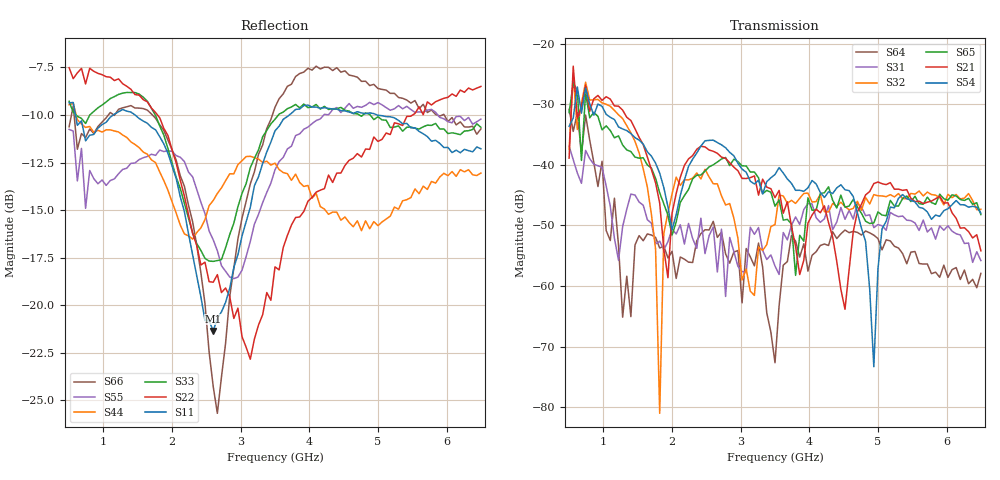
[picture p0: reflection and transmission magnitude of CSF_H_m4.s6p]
!Keysight Technologies,M9804A,MY58100912,A.14.10.03
!Date: Thursday, April 27, 2023 10:28:33
!Correction: S11(C  6-Port  )
!S12(C  6-Port  )
!S13(C  6-Port  )
!S14(C  6-Port  )
!S15(C  6-Port  )
!S16(C  6-Port  )
!S21(C  6-Port  )
!S22(C  6-Port  )
!S23(C  6-Port  )
!S24(C  6-Port  )
!S25(C  6-Port  )
!S26(C  6-Port  )
!S31(C  6-Port  )
!S32(C  6-Port  )
!S33(C  6-Port  )
!S34(C  6-Port  )
!S35(C  6-Port  )
!S36(C  6-Port  )
!S41(C  6-Port  )
!S42(C  6-Port  )
!S43(C  6-Port  )
!S44(C  6-Port  )
!S45(C  6-Port  )
!S46(C  6-Port  )
!S51(C  6-Port  )
!S52(C  6-Port  )
!S53(C  6-Port  )
!S54(C  6-Port  )
!S55(C  6-Port  )
!S56(C  6-Port  )
!S61(C  6-Port  )
!S62(C  6-Port  )
!S63(C  6-Port  )
!S64(C  6-Port  )
!S65(C  6-Port  )
!S66(C  6-Port  )
!S6P File: Measurement: :
# Hz S  RI  R 50
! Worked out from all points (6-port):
!   101 points, 500 MHz to 6.5 GHz, reference 50 ohm
!   strongest paths, dB at 500 MHz, 2 GHz, 3.5 GHz, 5 GHz, 6.5 GHz:
!     S54: -33.6, -50.7, -41.6, -57.2, -48.0
!     S21: -38.9, -48.0, -45.4, -42.8, -54.2
!     S65: -31.4, -51.6, -46.8, -47.8, -48.2
!     S32: -37.4, -44.8, -49.9, -45.1, -47.3
!     S31: -36.9, -50.6, -56.7, -49.9, -55.8
!     S64: -30.8, -54.3, -72.7, -52.2, -57.9
!   lowest |S11| = -21.4 dB at 2.6 GHz (marker M1), VSWR 1.19, Z = 42.4 + j2.29 ohm
!   |S11| at or under -10 dB: 592.7 MHz to 1.146 GHz (552.8 MHz wide, 63.6 % of centre); 1.46 GHz to 3.709 GHz (2.249 GHz wide, 87 % of centre); 4.987 GHz to end of sweep
